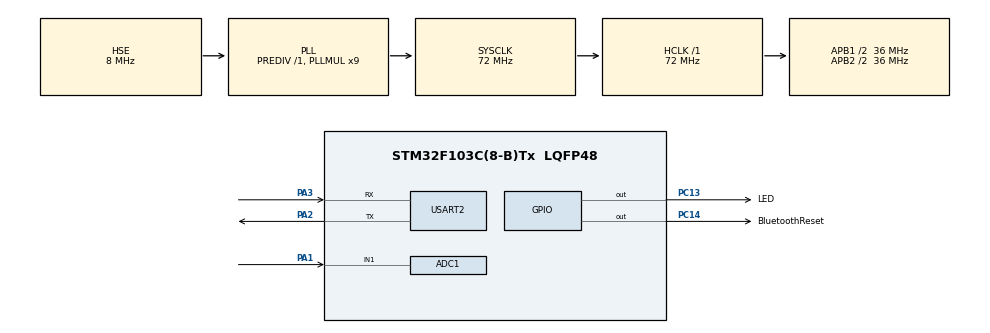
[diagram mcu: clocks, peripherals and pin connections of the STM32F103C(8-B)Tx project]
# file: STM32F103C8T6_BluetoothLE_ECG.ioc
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ADC1.Channel-1\#ChannelRegularConversion=ADC_CHANNEL_1
ADC1.ContinuousConvMode=ENABLE
ADC1.NbrOfConversionFlag=1
ADC1.Rank-1\#ChannelRegularConversion=1
ADC1.SamplingTime-1\#ChannelRegularConversion=ADC_SAMPLETIME_239CYCLES_5
ADC1.master=1
Dma.ADC1.0.Direction=DMA_PERIPH_TO_MEMORY
Dma.ADC1.0.Instance=DMA1_Channel1
Dma.ADC1.0.MemDataAlignment=DMA_MDATAALIGN_WORD
Dma.ADC1.0.MemInc=DMA_MINC_DISABLE
Dma.ADC1.0.Mode=DMA_CIRCULAR
Dma.ADC1.0.PeriphDataAlignment=DMA_PDATAALIGN_WORD
Dma.ADC1.0.PeriphInc=DMA_PINC_DISABLE
Dma.ADC1.0.Priority=DMA_PRIORITY_LOW
Dma.Request0=ADC1
Mcu.Family=STM32F1
Mcu.Name=STM32F103C(8-B)Tx
Mcu.Package=LQFP48
NVIC.ADC1_2_IRQn=true\:0\:0\:false\:false\:true\:true\:true
NVIC.DMA1_Channel1_IRQn=true\:0\:0\:false\:false\:true\:false\:true
NVIC.PriorityGroup=NVIC_PRIORITYGROUP_4
NVIC.TIM2_IRQn=true\:0\:0\:false\:false\:true\:true\:true
NVIC.USART2_IRQn=true\:0\:0\:false\:false\:true\:true\:true
PA1.Signal=ADCx_IN1
PA13.Mode=Serial_Wire
PA13.Signal=SYS_JTMS-SWDIO
PA14.Mode=Serial_Wire
PA14.Signal=SYS_JTCK-SWCLK
PA2.Mode=Asynchronous
PA2.Signal=USART2_TX
PA3.Mode=Asynchronous
PA3.Signal=USART2_RX
PC13-TAMPER-RTC.GPIO_Label=LED
PC13-TAMPER-RTC.GPIO_Speed=GPIO_SPEED_FREQ_HIGH
PC13-TAMPER-RTC.PinState=GPIO_PIN_SET
PC13-TAMPER-RTC.Signal=GPIO_Output
PC14-OSC32_IN.GPIO_Label=BluetoothReset
PC14-OSC32_IN.GPIO_Speed=GPIO_SPEED_FREQ_HIGH
PC14-OSC32_IN.PinState=GPIO_PIN_RESET
PC14-OSC32_IN.Signal=GPIO_Output
PD0-OSC_IN.Mode=HSE-External-Oscillator
PD0-OSC_IN.Signal=RCC_OSC_IN
PD1-OSC_OUT.Mode=HSE-External-Oscillator
PD1-OSC_OUT.Signal=RCC_OSC_OUT
ProjectManager.HeapSize=0x200
ProjectManager.StackSize=0x400
ProjectManager.TargetToolchain=STM32CubeIDE
RCC.ADCPresc=RCC_ADCPCLK2_DIV4
RCC.AHBFreq_Value=72000000
RCC.APB1CLKDivider=RCC_HCLK_DIV2
RCC.APB1Freq_Value=36000000
RCC.APB1TimFreq_Value=72000000
RCC.APB2CLKDivider=RCC_HCLK_DIV2
RCC.APB2Freq_Value=36000000
RCC.APB2TimFreq_Value=72000000
RCC.HCLKFreq_Value=72000000
RCC.PLLMUL=RCC_PLL_MUL9
RCC.PLLSourceVirtual=RCC_PLLSOURCE_HSE
RCC.SYSCLKFreq_VALUE=72000000
RCC.SYSCLKSource=RCC_SYSCLKSOURCE_PLLCLK
RCC.USBFreq_Value=72000000
SH.ADCx_IN1.0=ADC1_IN1,IN1
TIM2.Period=1088
TIM2.Prescaler=1033
USART2.VirtualMode=VM_ASYNC
VP_TIM2_VS_ClockSourceINT.Mode=Internal
board=custom

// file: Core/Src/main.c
/* USER CODE BEGIN Header */
/**
  ******************************************************************************
  * @file           : main.c
  * @brief          : Main program body
  ******************************************************************************
  * @attention
  *
  * <h2><center>&copy; Copyright (c) 2020 STMicroelectronics.
  * All rights reserved.</center></h2>
  *
  * This software component is licensed by ST under BSD 3-Clause license,
  * the "License"; You may not use this file except in compliance with the
  * License. You may obtain a copy of the License at:
  *                        opensource.org/licenses/BSD-3-Clause
  *
  ******************************************************************************
  */
/* USER CODE END Header */
#include "main.h"

/* USER CODE BEGIN Includes */
#include "mylibrary.h"
/* USER CODE END Includes */

ADC_HandleTypeDef hadc1;
DMA_HandleTypeDef hdma_adc1;

TIM_HandleTypeDef htim2;

UART_HandleTypeDef huart2;

void SystemClock_Config(void);
static void MX_GPIO_Init(void);
static void MX_DMA_Init(void);
static void MX_USART2_UART_Init(void);
static void MX_TIM2_Init(void);
static void MX_ADC1_Init(void);

int main(void)
{

  /* MCU Configuration--------------------------------------------------------*/

  /* Reset of all peripherals, Initializes the Flash interface and the Systick. */
  HAL_Init();

  /* Configure the system clock */
  SystemClock_Config();

  /* Initialize all configured peripherals */
  MX_GPIO_Init();
  MX_DMA_Init();
  MX_USART2_UART_Init();
  MX_TIM2_Init();
  MX_ADC1_Init();
  /* USER CODE BEGIN 2 */
  HAL_Delay(200);
  HAL_GPIO_WritePin(BluetoothReset_GPIO_Port, BluetoothReset_Pin, SET);
  HAL_Delay(1000);
  __HAL_UART_DISABLE_IT(&huart2, UART_IT_RXNE);
  HAL_ADC_Start_DMA(&hadc1, &ADC_value, 1);
  HAL_ADC_Start_IT(&hadc1);
  HAL_UART_Transmit(&huart2, (uint8_t*)"AT+NAMEBlue ECG", strlen("AT+NAMEBlue ECG"), 500);
  HAL_Delay(1000);
  HAL_TIM_Base_Start_IT(&htim2);
  memset(ADC_Values, 0, sizeof(ADC_Values));

  /* USER CODE END 2 */

  /* Infinite loop */
  while (1)
  {

    /* USER CODE BEGIN 3 */
	  if(send_flag == 1)
	  {
		  send_flag = 0;
		  HAL_GPIO_WritePin(LED_GPIO_Port, LED_Pin, RESET);
		  char sendBuffer[350];
		  memset(sendBuffer, 0, sizeof(sendBuffer));
			if(stream_index == 0)
			{
				for(int i=0; i<64; i++)
				{
					itoa(ADC_Values[3][i], &sendBuffer[strlen(sendBuffer)], 10);
					sendBuffer[strlen(sendBuffer)] = ',';
				}
			}
			else
			{
				for(int i=0; i<64; i++)
				{
					itoa(ADC_Values[stream_index-1][i], &sendBuffer[strlen(sendBuffer)], 10); // truyen du lieu 64 gia tri ADC hang stream_index -1 len app
					sendBuffer[strlen(sendBuffer)] = ',';
				}
			}
			sendBuffer[strlen(sendBuffer)-1] = '\n';
			HAL_UART_Transmit(&huart2, (uint8_t*)sendBuffer, strlen(sendBuffer), 200);
			HAL_GPIO_WritePin(LED_GPIO_Port, LED_Pin, SET);
	  }
  }
  /* USER CODE END 3 */
}

void SystemClock_Config(void)
{
  RCC_OscInitTypeDef RCC_OscInitStruct = {0};
  RCC_ClkInitTypeDef RCC_ClkInitStruct = {0};
  RCC_PeriphCLKInitTypeDef PeriphClkInit = {0};

  /** Initializes the RCC Oscillators according to the specified parameters
  * in the RCC_OscInitTypeDef structure.
  */
  RCC_OscInitStruct.OscillatorType = RCC_OSCILLATORTYPE_HSE;
  RCC_OscInitStruct.HSEState = RCC_HSE_ON;
  RCC_OscInitStruct.HSEPredivValue = RCC_HSE_PREDIV_DIV1;
  RCC_OscInitStruct.HSIState = RCC_HSI_ON;
  RCC_OscInitStruct.PLL.PLLState = RCC_PLL_ON;
  RCC_OscInitStruct.PLL.PLLSource = RCC_PLLSOURCE_HSE;
  RCC_OscInitStruct.PLL.PLLMUL = RCC_PLL_MUL9;
  if (HAL_RCC_OscConfig(&RCC_OscInitStruct) != HAL_OK)
  {
    Error_Handler();
  }
  /** Initializes the CPU, AHB and APB buses clocks
  */
  RCC_ClkInitStruct.ClockType = RCC_CLOCKTYPE_HCLK|RCC_CLOCKTYPE_SYSCLK
                              |RCC_CLOCKTYPE_PCLK1|RCC_CLOCKTYPE_PCLK2;
  RCC_ClkInitStruct.SYSCLKSource = RCC_SYSCLKSOURCE_PLLCLK;
  RCC_ClkInitStruct.AHBCLKDivider = RCC_SYSCLK_DIV1;
  RCC_ClkInitStruct.APB1CLKDivider = RCC_HCLK_DIV2;
  RCC_ClkInitStruct.APB2CLKDivider = RCC_HCLK_DIV2;

  if (HAL_RCC_ClockConfig(&RCC_ClkInitStruct, FLASH_LATENCY_2) != HAL_OK)
  {
    Error_Handler();
  }
  PeriphClkInit.PeriphClockSelection = RCC_PERIPHCLK_ADC;
  PeriphClkInit.AdcClockSelection = RCC_ADCPCLK2_DIV4;
  if (HAL_RCCEx_PeriphCLKConfig(&PeriphClkInit) != HAL_OK)
  {
    Error_Handler();
  }
}

static void MX_ADC1_Init(void)
{

  ADC_ChannelConfTypeDef sConfig = {0};

  /** Common config
  */
  hadc1.Instance = ADC1;
  hadc1.Init.ScanConvMode = ADC_SCAN_DISABLE;
  hadc1.Init.ContinuousConvMode = ENABLE;
  hadc1.Init.DiscontinuousConvMode = DISABLE;
  hadc1.Init.ExternalTrigConv = ADC_SOFTWARE_START;
  hadc1.Init.DataAlign = ADC_DATAALIGN_RIGHT;
  hadc1.Init.NbrOfConversion = 1;
  if (HAL_ADC_Init(&hadc1) != HAL_OK)
  {
    Error_Handler();
  }
  /** Configure Regular Channel
  */
  sConfig.Channel = ADC_CHANNEL_1;
  sConfig.Rank = ADC_REGULAR_RANK_1;
  sConfig.SamplingTime = ADC_SAMPLETIME_239CYCLES_5;
  if (HAL_ADC_ConfigChannel(&hadc1, &sConfig) != HAL_OK)
  {
    Error_Handler();
  }

}

static void MX_TIM2_Init(void)
{

  TIM_ClockConfigTypeDef sClockSourceConfig = {0};
  TIM_MasterConfigTypeDef sMasterConfig = {0};

  htim2.Instance = TIM2;
  htim2.Init.Prescaler = 1033;
  htim2.Init.CounterMode = TIM_COUNTERMODE_UP;
  htim2.Init.Period = 1088;
  htim2.Init.ClockDivision = TIM_CLOCKDIVISION_DIV1;
  htim2.Init.AutoReloadPreload = TIM_AUTORELOAD_PRELOAD_DISABLE;
  if (HAL_TIM_Base_Init(&htim2) != HAL_OK)
  {
    Error_Handler();
  }
  sClockSourceConfig.ClockSource = TIM_CLOCKSOURCE_INTERNAL;
  if (HAL_TIM_ConfigClockSource(&htim2, &sClockSourceConfig) != HAL_OK)
  {
    Error_Handler();
  }
  sMasterConfig.MasterOutputTrigger = TIM_TRGO_RESET;
  sMasterConfig.MasterSlaveMode = TIM_MASTERSLAVEMODE_DISABLE;
  if (HAL_TIMEx_MasterConfigSynchronization(&htim2, &sMasterConfig) != HAL_OK)
  {
    Error_Handler();
  }

}

static void MX_USART2_UART_Init(void)
{

  huart2.Instance = USART2;
  huart2.Init.BaudRate = 115200;
  huart2.Init.WordLength = UART_WORDLENGTH_8B;
  huart2.Init.StopBits = UART_STOPBITS_1;
  huart2.Init.Parity = UART_PARITY_NONE;
  huart2.Init.Mode = UART_MODE_TX_RX;
  huart2.Init.HwFlowCtl = UART_HWCONTROL_NONE;
  huart2.Init.OverSampling = UART_OVERSAMPLING_16;
  if (HAL_UART_Init(&huart2) != HAL_OK)
  {
    Error_Handler();
  }

}

static void MX_DMA_Init(void)
{

  /* DMA controller clock enable */
  __HAL_RCC_DMA1_CLK_ENABLE();

  /* DMA interrupt init */
  /* DMA1_Channel1_IRQn interrupt configuration */
  HAL_NVIC_SetPriority(DMA1_Channel1_IRQn, 0, 0);
  HAL_NVIC_EnableIRQ(DMA1_Channel1_IRQn);

}

static void MX_GPIO_Init(void)
{
  GPIO_InitTypeDef GPIO_InitStruct = {0};

  /* GPIO Ports Clock Enable */
  __HAL_RCC_GPIOC_CLK_ENABLE();
  __HAL_RCC_GPIOD_CLK_ENABLE();
  __HAL_RCC_GPIOA_CLK_ENABLE();

  /*Configure GPIO pin Output Level */
  HAL_GPIO_WritePin(LED_GPIO_Port, LED_Pin, GPIO_PIN_SET);

  /*Configure GPIO pin Output Level */
  HAL_GPIO_WritePin(BluetoothReset_GPIO_Port, BluetoothReset_Pin, GPIO_PIN_RESET);

  /*Configure GPIO pins : LED_Pin BluetoothReset_Pin */
  GPIO_InitStruct.Pin = LED_Pin|BluetoothReset_Pin;
  GPIO_InitStruct.Mode = GPIO_MODE_OUTPUT_PP;
  GPIO_InitStruct.Pull = GPIO_NOPULL;
  GPIO_InitStruct.Speed = GPIO_SPEED_FREQ_HIGH;
  HAL_GPIO_Init(GPIOC, &GPIO_InitStruct);

}

void Error_Handler(void)
{
}

/************************ (C) COPYRIGHT STMicroelectronics *****END OF FILE****/
